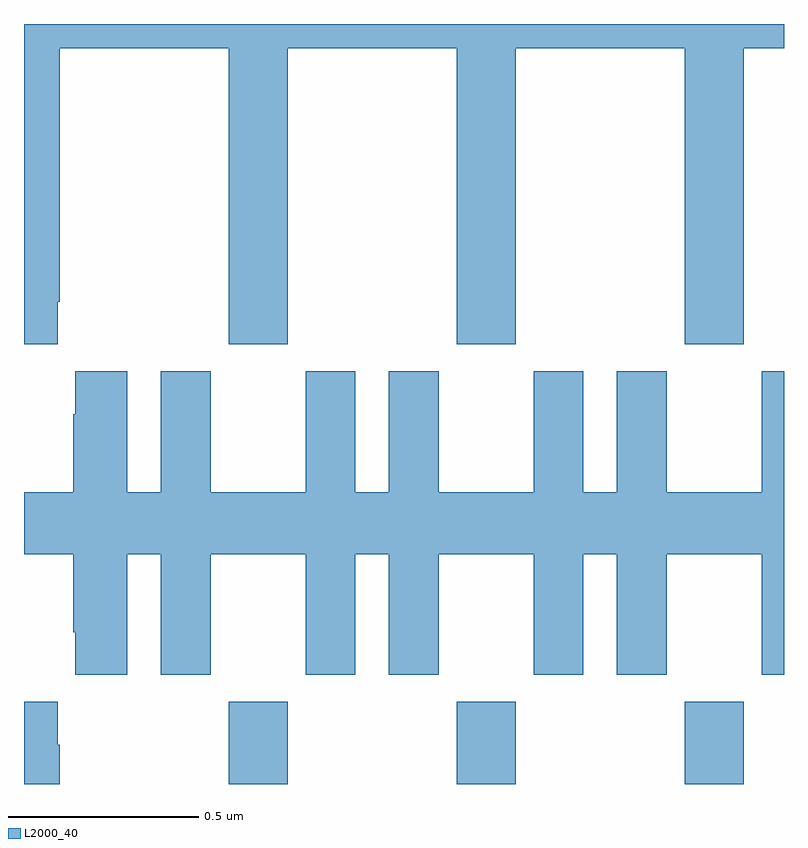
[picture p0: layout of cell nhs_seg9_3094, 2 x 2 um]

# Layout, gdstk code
import gdstk
lib = gdstk.Library(unit=1e-6, precision=1e-09)
def R(c, l, rs):  # rectangles x0, y0, x1, y1
    for r in rs: c.add(gdstk.rectangle(r[:2], r[2:], *l))
def A(c, l, x, y, w, h, nx, ny, dx, dy):  # array of equal rectangles
    R(c, l, [(x+i*dx, y+j*dy, x+i*dx+w, y+j*dy+h) for i in range(nx) for j in range(ny)])
def P(c, l, *ps):  # polygons
    for p in ps: c.add(gdstk.Polygon(p, *l))
L2000_40 = (2000, 40)

nhs_seg9_3094 = lib.new_cell('nhs_seg9_3094')
A(nhs_seg9_3094, L2000_40, 149.539, 1178.5, 0.155, 0.216, 3, 1, 0.6, 0)
P(nhs_seg9_3094, L2000_40, [(149.089,1179.769),(149.094,1179.769),(149.094,1180.436),(149.539,1180.436),(149.539,1179.657),(149.694,1179.657),(149.694,1180.436),(150.139,1180.436),(150.139,1179.657),(150.294,1179.657),(150.294,1180.436),(150.739,1180.436),(150.739,1179.657),(150.894,1179.657),(150.894,1180.436),(151,1180.436),(151,1180.5),(149,1180.5),(149,1179.657),(149.089,1179.657)],
  [(149.272,1179.104),(149.36,1179.104),(149.36,1178.787),(149.491,1178.787),(149.491,1179.104),(149.741,1179.104),(149.741,1178.787),(149.872,1178.787),(149.872,1179.104),(149.96,1179.104),(149.96,1178.787),(150.091,1178.787),(150.091,1179.104),(150.341,1179.104),(150.341,1178.787),(150.472,1178.787),(150.472,1179.104),(150.56,1179.104),(150.56,1178.787),(150.691,1178.787),(150.691,1179.104),(150.941,1179.104),(150.941,1178.787),(151,1178.787),(151,1179.586),(150.941,1179.586),(150.941,1179.268),(150.691,1179.268),(150.691,1179.586),(150.56,1179.586),(150.56,1179.268),(150.472,1179.268),(150.472,1179.586),(150.341,1179.586),(150.341,1179.268),(150.091,1179.268),(150.091,1179.586),(149.96,1179.586),(149.96,1179.268),(149.872,1179.268),(149.872,1179.586),(149.741,1179.586),(149.741,1179.268),(149.491,1179.268),(149.491,1179.586),(149.36,1179.586),(149.36,1179.268),(149.272,1179.268),(149.272,1179.586),(149.135,1179.586),(149.135,1179.473),(149.129,1179.473),(149.129,1179.268),(149,1179.268),(149,1179.104),(149.129,1179.104),(149.129,1178.899),(149.135,1178.899),(149.135,1178.787),(149.272,1178.787)],
  [(149.094,1178.603),(149.089,1178.603),(149.089,1178.716),(149,1178.716),(149,1178.5),(149.094,1178.5)])

lib.write_gds('nhs_seg9_3094.gds')
